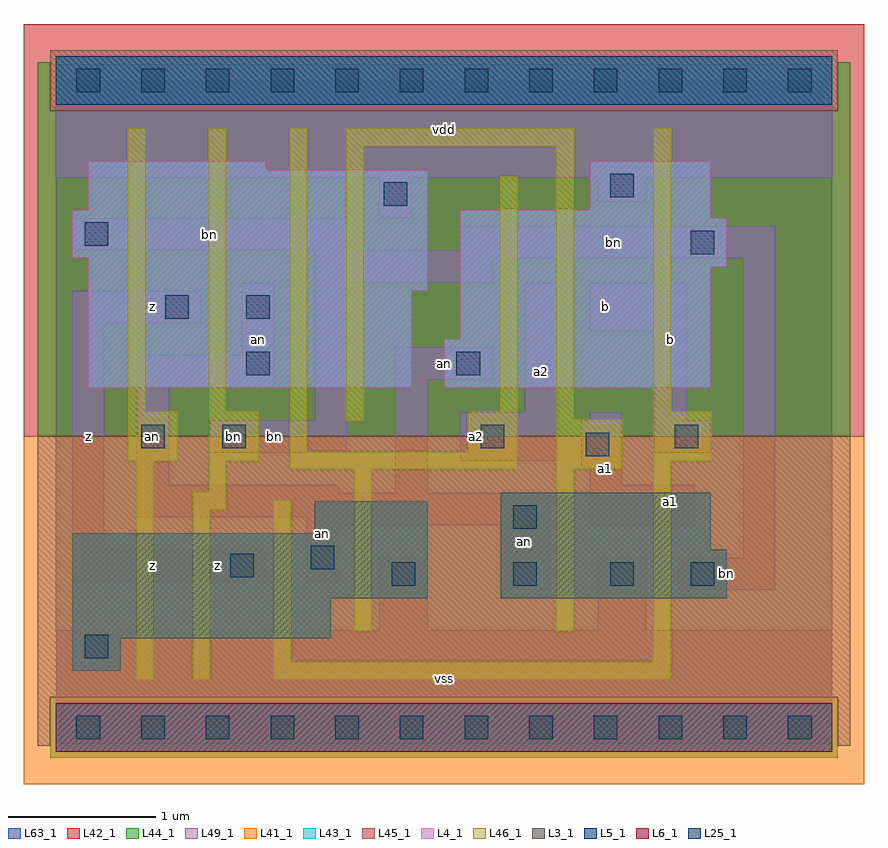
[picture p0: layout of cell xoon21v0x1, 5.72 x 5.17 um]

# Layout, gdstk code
import gdstk
lib = gdstk.Library(unit=1e-6, precision=1e-09)
def R(c, l, rs):  # rectangles x0, y0, x1, y1
    for r in rs: c.add(gdstk.rectangle(r[:2], r[2:], *l))
def A(c, l, x, y, w, h, nx, ny, dx, dy):  # array of equal rectangles
    R(c, l, [(x+i*dx, y+j*dy, x+i*dx+w, y+j*dy+h) for i in range(nx) for j in range(ny)])
L3_1 = (3, 1)
L4_1 = (4, 1)
L5_1 = (5, 1)
L6_1 = (6, 1)
L25_1 = (25, 1)
L41_1 = (41, 1)
L42_1 = (42, 1)
L43_1 = (43, 1)
L44_1 = (44, 1)
L45_1 = (45, 1)
L46_1 = (46, 1)
L49_1 = (49, 1)
L63_1 = (63, 1)

xoon21v0x1 = lib.new_cell('xoon21v0x1')
R(xoon21v0x1, L3_1, [(0.11,0.385,0.44,0.605), (0.11,0.605,1.87,0.88), (0.11,0.88,2.53,1.32), (3.025,0.88,4.565,1.21), (3.025,1.21,4.455,1.595), (1.76,1.32,2.53,1.54)])
R(xoon21v0x1, L4_1, [(0.22,2.31,2.42,2.97), (2.64,2.31,4.455,2.64), (2.75,2.64,4.455,3.135), (0.22,2.97,2.53,3.19), (2.75,3.135,4.565,3.465), (0.11,3.19,2.53,3.52), (2.75,3.465,4.455,3.52), (0.22,3.52,2.53,3.795), (3.63,3.52,4.455,3.85), (0.22,3.795,1.43,3.85)])
R(xoon21v0x1, L5_1, [(0,4.235,5.28,4.565)])
R(xoon21v0x1, L6_1, [(0,-0.165,5.28,0.165)])
A(xoon21v0x1, L25_1, 0.14, -0.08, 0.16, 0.16, 12, 2, 0.44, 4.4)
R(xoon21v0x1, L25_1, [(0.195,0.47,0.355,0.63), (2.285,0.965,2.445,1.125), (3.11,0.965,3.27,1.125), (3.77,0.965,3.93,1.125), (4.32,0.965,4.48,1.125), (1.185,1.02,1.345,1.18), (1.735,1.075,1.895,1.235), (3.11,1.35,3.27,1.51), (3.605,1.845,3.765,2.005), (0.58,1.9,0.74,2.06), (1.13,1.9,1.29,2.06), (2.89,1.9,3.05,2.06), (4.21,1.9,4.37,2.06), (1.295,2.395,1.455,2.555), (2.725,2.395,2.885,2.555), (0.745,2.78,0.905,2.94), (1.295,2.78,1.455,2.94), (4.32,3.22,4.48,3.38), (0.195,3.275,0.355,3.435), (2.23,3.55,2.39,3.71), (3.77,3.605,3.93,3.765)])
R(xoon21v0x1, L41_1, [(-0.22,-0.385,5.5,1.98)])
R(xoon21v0x1, L42_1, [(-0.22,1.98,5.5,4.785)])
R(xoon21v0x1, L43_1, [(0,-0.165,5.28,0.165), (0.11,0.385,0.44,0.605), (0.11,0.605,1.87,0.88), (0.11,0.88,2.53,1.32), (3.025,0.88,4.565,1.21), (3.025,1.21,4.455,1.595), (1.76,1.32,2.53,1.54), (0.22,2.31,2.42,2.97), (2.64,2.31,4.455,2.64), (2.75,2.64,4.455,3.135), (0.22,2.97,2.53,3.19), (2.75,3.135,4.565,3.465), (0.11,3.19,2.53,3.52), (2.75,3.465,4.455,3.52), (0.22,3.52,2.53,3.795), (3.63,3.52,4.455,3.85), (0.22,3.795,1.43,3.85), (0,4.235,5.28,4.565)])
R(xoon21v0x1, L44_1, [(-0.04,-0.205,5.32,0.205), (-0.125,1.98,5.405,4.195), (-0.125,4.195,-0.04,4.525), (5.32,4.195,5.405,4.525)])
R(xoon21v0x1, L45_1, [(-0.125,-0.125,-0.04,0.205), (5.32,-0.125,5.405,0.205), (-0.125,0.205,5.405,1.98), (-0.04,4.195,5.32,4.605)])
R(xoon21v0x1, L46_1, [(0.545,0.325,0.665,1.81), (0.93,0.325,1.05,1.48), (1.48,0.325,4.185,0.445), (1.48,0.445,1.6,1.545), (4.065,0.445,4.185,1.81), (2.03,0.655,2.15,1.755), (3.405,0.655,3.525,1.755), (0.93,1.48,1.16,1.6), (1.04,1.6,1.16,1.81), (1.59,1.755,3.14,1.875), (3.405,1.755,3.855,2.095), (0.49,1.81,0.83,2.15), (1.04,1.81,1.38,2.15), (4.065,1.81,4.46,2.15), (1.59,1.875,1.71,4.075), (2.8,1.875,3.14,2.15), (1.975,2.085,2.095,3.955), (3.405,2.095,3.525,3.955), (0.49,2.15,0.61,4.075), (1.04,2.15,1.16,4.075), (3.02,2.15,3.14,3.745), (4.065,2.15,4.185,4.075), (1.975,3.955,3.525,4.075)])
R(xoon21v0x1, L49_1, [(0,-0.11,5.28,0.66), (2.2,0.66,2.53,1.155), (3.685,0.66,4.015,1.155), (3.025,0.935,3.355,1.375), (4.235,0.935,4.895,1.155), (0.11,0.99,1.43,1.21), (1.705,0.99,1.925,1.375), (4.675,1.155,4.895,3.19), (0.11,1.21,0.33,2.75), (1.705,1.375,3.355,1.43), (3.63,1.375,4.345,1.65), (0.55,1.43,3.355,1.595), (0.55,1.595,1.925,1.65), (2.31,1.595,2.53,2.365), (0.55,1.65,0.77,2.31), (3.63,1.65,3.85,1.76), (3.575,1.76,3.85,2.09), (2.75,1.815,3.41,2.145), (1.045,1.87,1.98,2.09), (4.07,1.87,4.455,2.09), (1.76,2.09,1.98,3.025), (3.63,2.09,3.85,2.145), (4.07,2.09,4.29,2.695), (3.19,2.145,3.41,3.025), (0.55,2.31,1.485,2.53), (2.31,2.365,2.97,2.585), (1.265,2.53,1.485,3.025), (3.63,2.695,4.29,3.025), (0.11,2.75,0.99,2.97), (1.76,3.025,2.97,3.19), (1.76,3.19,4.895,3.245), (0.11,3.245,1.98,3.465), (2.75,3.245,4.895,3.41), (2.2,3.465,2.42,3.74), (3.685,3.575,4.015,3.74), (0,3.74,5.28,4.51)])
R(xoon21v0x1, L63_1, [(0,0,5.28,4.4)])
xoon21v0x1.add(gdstk.Label('bn', (1.21,1.98), layer=49, texttype=1))
xoon21v0x1.add(gdstk.Label('an', (0.66,1.98), layer=49, texttype=1))
xoon21v0x1.add(gdstk.Label('z', (0.66,1.1), layer=49, texttype=1))
xoon21v0x1.add(gdstk.Label('an', (0.66,1.98), layer=49, texttype=1))
xoon21v0x1.add(gdstk.Label('z', (0.22,1.98), layer=49, texttype=1))
xoon21v0x1.add(gdstk.Label('z', (0.66,2.86), layer=49, texttype=1))
xoon21v0x1.add(gdstk.Label('z', (1.1,1.1), layer=49, texttype=1))
xoon21v0x1.add(gdstk.Label('an', (1.815,1.32), layer=49, texttype=1))
xoon21v0x1.add(gdstk.Label('bn', (1.485,1.98), layer=49, texttype=1))
xoon21v0x1.add(gdstk.Label('an', (1.375,2.64), layer=49, texttype=1))
xoon21v0x1.add(gdstk.Label('bn', (1.045,3.355), layer=49, texttype=1))
xoon21v0x1.add(gdstk.Label('vss', (2.64,0.33), layer=49, texttype=1))
xoon21v0x1.add(gdstk.Label('an', (2.64,2.475), layer=49, texttype=1))
xoon21v0x1.add(gdstk.Label('a2', (2.86,1.98), layer=49, texttype=1))
xoon21v0x1.add(gdstk.Label('vdd', (2.64,4.07), layer=49, texttype=1))
xoon21v0x1.add(gdstk.Label('an', (3.19,1.265), layer=49, texttype=1))
xoon21v0x1.add(gdstk.Label('a1', (4.18,1.54), layer=49, texttype=1))
xoon21v0x1.add(gdstk.Label('a1', (3.74,1.76), layer=49, texttype=1))
xoon21v0x1.add(gdstk.Label('a2', (3.3,2.42), layer=49, texttype=1))
xoon21v0x1.add(gdstk.Label('b', (3.74,2.86), layer=49, texttype=1))
xoon21v0x1.add(gdstk.Label('b', (4.18,2.64), layer=49, texttype=1))
xoon21v0x1.add(gdstk.Label('bn', (4.565,1.045), layer=49, texttype=1))
xoon21v0x1.add(gdstk.Label('bn', (3.795,3.3), layer=49, texttype=1))

lib.write_gds('xoon21v0x1.gds')
